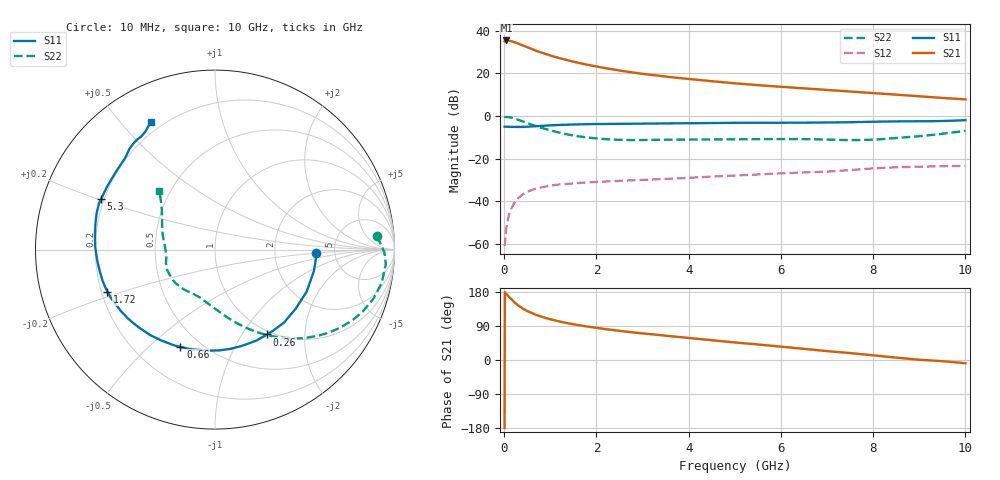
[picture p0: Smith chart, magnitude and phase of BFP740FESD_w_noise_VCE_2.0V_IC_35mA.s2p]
! Infineon Technologies  Discrete & RF Semiconductors
! BFP740FESD
! VCE =  2.0 V,  IC =  35 mA
! Common Emitter S-Parameters:  Jan 2016
# GHz  S  MA  R  50
!  f  S11  S21  S12  S22
! GHz  MAG  ANG  MAG  ANG  MAG  ANG  MAG  ANG
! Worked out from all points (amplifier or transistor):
!   233 points, 10 MHz to 10 GHz, reference 50 ohm
!   highest |S21| = 35.4 dB at 50 MHz (marker M1)
!   |S21| within 3 dB of that: start of sweep to 477.1 MHz
!   unconditionally stable (mu >= 1): start of sweep to 13.15 MHz; 4.653 GHz to end of sweep
!   at 200 MHz: K = 0.17, MSG = 38.1 dB, |S12| = -41.4 dB
!   at 1.74 GHz: K = 0.61, MSG = 27.7 dB, |S12| = -31.2 dB
!   at 10 GHz: K = 1.15, MAG = 13.2 dB, |S12| = -23.3 dB
!   lowest NFmin = 1.06 dB at 450 MHz
!   S11 on the Smith chart (normalised r, x): 10 MHz: 3.55, -0.17; 260 MHz: 0.95, -1.30; 660 MHz: 0.39, -0.63; 1.72 GHz: 0.22, -0.18; 5.3 GHz: 0.19, +0.21; 10 GHz: 0.15, +0.61
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0.01  0.5613 -1.7  56.11 -179.5  0.0009 94.7  0.9061 4.7
0.02  0.5649 -5.3  58.56 177.8  0.0011 88.6  0.9438 -0.9
0.05  0.5636 -12.5  58.71 173.9  0.0025 81.7  0.9551 -4.9
0.1  0.5618 -24.7  58.47 167.4  0.0046 79.3  0.9475 -11.3
0.15  0.5573 -36.3  56.68 160.7  0.0066 74.9  0.9237 -17.3
0.26  0.5553 -58.4  51.74 148.4  0.0105 66.8  0.8506 -28.4
0.3  0.5567 -65.7  49.82 144.4  0.0118 64.2  0.822 -32.0
0.4  0.5596 -80.9  45.08 136.1  0.0145 58.6  0.7497 -39.7
0.5  0.5642 -93.8  40.62 129.3  0.0168 54.3  0.6844 -46.3
0.66  0.5751 -109.6  34.83 120.7  0.0195 48.8  0.5957 -54.7
0.8  0.5882 -120.6  30.64 114.5  0.0214 45.1  0.533 -61.2
1.08  0.6102 -136.7  24.62 105.0  0.0241 39.9  0.4385 -72.0
1.32  0.626 -146.7  20.91 98.4  0.0257 36.9  0.3817 -80.1
1.68  0.6422 -157.6  16.93 90.6  0.0274 34.4  0.3269 -90.6
1.72  0.6435 -158.6  16.57 89.9  0.0276 34.2  0.3225 -91.6
2.4  0.6559 -172.2  12.12 78.4  0.0301 32.7  0.2797 -107.7
3.4  0.672 174.2  8.609 65.4  0.0333 33.8  0.278 -123.2
5.1  0.695 157.7  5.71 45.3  0.041 35.6  0.2883 -140.5
5.3  0.6945 156.0  5.485 43.2  0.0419 35.6  0.2889 -142.4
6.8  0.703 140.7  4.216 25.9  0.0491 35.1  0.2852 -162.2
8.4  0.747 127.1  3.236 7.4  0.0627 31.6  0.2996 165.7
10  0.7981 116.6  2.455 -8.5  0.0682 23.0  0.4498 133.5
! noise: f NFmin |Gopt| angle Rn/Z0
0.45  1.06  0.21  -171  0.08
2.4  1.1  0.22  -158  0.09
5.5  1.26  0.25  -159  0.1
10  1.79  0.43  -113  0.25
